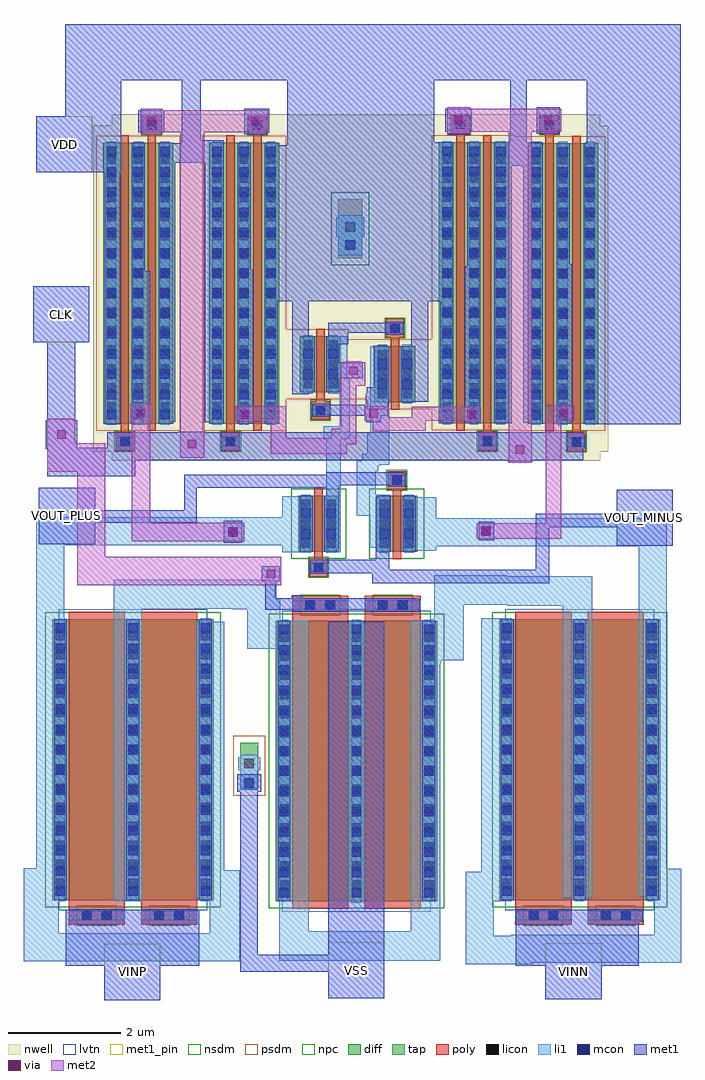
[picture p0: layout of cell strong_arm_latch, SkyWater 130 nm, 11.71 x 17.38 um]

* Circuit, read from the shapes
.subckt strong_arm_latch CLK VDD VINN VINP VOUT_MINUS VOUT_PLUS VSS
XM1 n1 VINP n2 VSS sky130_fd_pr__nfet_01v8_lvt w=5 l=1 m=2
XM2 VSS CLK n1 VSS sky130_fd_pr__nfet_01v8_lvt w=5 l=1 m=2
XM3 VOUT_PLUS VOUT_MINUS n2 VSS sky130_fd_pr__nfet_01v8 w=1 l=0.15
XM4 n3 VOUT_PLUS VOUT_MINUS VSS sky130_fd_pr__nfet_01v8 w=1 l=0.15
XM5 n1 VINN n3 VSS sky130_fd_pr__nfet_01v8_lvt w=5 l=1 m=2
XM6 n2 CLK VDD VDD sky130_fd_pr__pfet_01v8 w=5 l=0.15 m=2
XM7 VOUT_PLUS CLK VDD VDD sky130_fd_pr__pfet_01v8 w=5 l=0.15 m=2
XM8 VOUT_PLUS VOUT_MINUS VDD VDD sky130_fd_pr__pfet_01v8 w=1 l=0.15
XM9 VDD VOUT_PLUS VOUT_MINUS VDD sky130_fd_pr__pfet_01v8 w=1 l=0.15
XM10 VOUT_MINUS CLK VDD VDD sky130_fd_pr__pfet_01v8 w=5 l=0.15 m=2
XM11 n3 CLK VDD VDD sky130_fd_pr__pfet_01v8 w=5 l=0.15 m=2
.ends

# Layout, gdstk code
from math import pi, radians
import gdstk
lib = gdstk.Library(unit=1e-6, precision=1e-09)
def R(c, l, rs):  # rectangles x0, y0, x1, y1
    for r in rs: c.add(gdstk.rectangle(r[:2], r[2:], *l))
def A(c, l, x, y, w, h, nx, ny, dx, dy):  # array of equal rectangles
    R(c, l, [(x+i*dx, y+j*dy, x+i*dx+w, y+j*dy+h) for i in range(nx) for j in range(ny)])
nwell = (64, 20)
diff = (65, 20)
tap = (65, 44)
poly = (66, 20)
licon = (66, 44)
li1 = (67, 20)
mcon = (67, 44)
met1_pin = (68, 16)
met1 = (68, 20)
via = (68, 44)
met2 = (69, 20)
nsdm = (93, 44)
psdm = (94, 20)
npc = (95, 20)
lvtn = (125, 44)

sky130_fd_pr__pfet_01v8_ = lib.new_cell('sky130_fd_pr__pfet_01v8_7X63HF')
R(sky130_fd_pr__pfet_01v8_, nwell, [(-0.805,-3,0.325,-2.81), (-0.805,-2.81,0.805,2.81), (-0.325,2.81,0.805,3)])
R(sky130_fd_pr__pfet_01v8_, diff, [(-0.625,-2.5,0.625,2.5)])
R(sky130_fd_pr__pfet_01v8_, poly, [(-0.405,-2.985,-0.075,-2.655), (-0.315,-2.655,-0.165,2.63), (0.165,-2.63,0.315,2.655), (0.075,2.655,0.405,2.985)])
A(sky130_fd_pr__pfet_01v8_, licon, -0.565, -2.295, 0.17, 0.17, 3, 14, 0.48, 0.34)
R(sky130_fd_pr__pfet_01v8_, licon, [(-0.325,-2.905,-0.155,-2.735), (0.155,2.735,0.325,2.905)])
A(sky130_fd_pr__pfet_01v8_, li1, -0.565, -2.52, 0.17, 5.04, 3, 1, 0.48, 0)
R(sky130_fd_pr__pfet_01v8_, li1, [(-0.405,-2.905,-0.075,-2.735), (0.075,2.735,0.405,2.905)])
A(sky130_fd_pr__pfet_01v8_, mcon, -0.565, -2.425, 0.17, 0.17, 3, 14, 0.48, 0.36)
R(sky130_fd_pr__pfet_01v8_, mcon, [(-0.325,-2.905,-0.155,-2.735), (0.155,2.735,0.325,2.905)])
A(sky130_fd_pr__pfet_01v8_, met1, -0.595, -2.5, 0.23, 5, 3, 1, 0.48, 0)
R(sky130_fd_pr__pfet_01v8_, met1, [(-0.385,-2.935,-0.095,-2.705), (0.095,2.705,0.385,2.935)])
R(sky130_fd_pr__pfet_01v8_, psdm, [(-0.75,-2.625,0.75,2.625)])
R(sky130_fd_pr__pfet_01v8_, npc, [(-0.425,-3.005,-0.055,-2.635), (0.055,2.635,0.425,3.005)])

c_sky130_fd_pr__pfet_01v8_ = lib.new_cell('sky130_fd_pr__pfet_01v8_4THXWW')
R(c_sky130_fd_pr__pfet_01v8_, nwell, [(-0.805,-3,0.325,-2.81), (-0.805,-2.81,0.805,2.81), (-0.325,2.81,0.805,3)])
R(c_sky130_fd_pr__pfet_01v8_, diff, [(-0.625,-2.5,0.625,2.5)])
R(c_sky130_fd_pr__pfet_01v8_, poly, [(-0.405,-2.985,-0.075,-2.655), (-0.315,-2.655,-0.165,2.63), (0.165,-2.63,0.315,2.655), (0.075,2.655,0.405,2.985)])
A(c_sky130_fd_pr__pfet_01v8_, licon, -0.565, -2.295, 0.17, 0.17, 3, 14, 0.48, 0.34)
R(c_sky130_fd_pr__pfet_01v8_, licon, [(-0.325,-2.905,-0.155,-2.735), (0.155,2.735,0.325,2.905)])
A(c_sky130_fd_pr__pfet_01v8_, li1, -0.565, -2.52, 0.17, 5.04, 3, 1, 0.48, 0)
R(c_sky130_fd_pr__pfet_01v8_, li1, [(-0.405,-2.905,-0.075,-2.735), (0.075,2.735,0.405,2.905)])
A(c_sky130_fd_pr__pfet_01v8_, mcon, -0.565, -2.425, 0.17, 0.17, 3, 14, 0.48, 0.36)
R(c_sky130_fd_pr__pfet_01v8_, mcon, [(-0.325,-2.905,-0.155,-2.735), (0.155,2.735,0.325,2.905)])
A(c_sky130_fd_pr__pfet_01v8_, met1, -0.595, -2.5, 0.23, 5, 3, 1, 0.48, 0)
R(c_sky130_fd_pr__pfet_01v8_, met1, [(-0.385,-2.935,-0.095,-2.705), (0.095,2.705,0.385,2.935)])
R(c_sky130_fd_pr__pfet_01v8_, psdm, [(-0.75,-2.625,0.75,2.625)])
R(c_sky130_fd_pr__pfet_01v8_, npc, [(-0.425,-3.005,-0.055,-2.635), (0.055,2.635,0.425,3.005)])

c_sky130_fd_pr__pfet_01v8__ = lib.new_cell('sky130_fd_pr__pfet_01v8_D9KQBY')
R(c_sky130_fd_pr__pfet_01v8__, nwell, [(-0.545,-0.99,0.545,0.82)])
R(c_sky130_fd_pr__pfet_01v8__, diff, [(-0.365,-0.68,0.365,0.32)])
R(c_sky130_fd_pr__pfet_01v8__, poly, [(-0.075,-0.81,0.075,0.475), (-0.165,0.475,0.165,0.805)])
A(c_sky130_fd_pr__pfet_01v8__, licon, -0.305, -0.605, 0.17, 0.17, 1, 3, 0, 0.34)
A(c_sky130_fd_pr__pfet_01v8__, licon, 0.135, -0.605, 0.17, 0.17, 1, 3, 0, 0.34)
R(c_sky130_fd_pr__pfet_01v8__, licon, [(-0.085,0.555,0.085,0.725)])
R(c_sky130_fd_pr__pfet_01v8__, li1, [(-0.305,-0.7,-0.135,0.34), (0.135,-0.7,0.305,0.34), (-0.165,0.555,0.165,0.725)])
R(c_sky130_fd_pr__pfet_01v8__, mcon, [(-0.305,-0.445,-0.135,-0.275), (0.135,-0.445,0.305,-0.275), (-0.305,-0.085,-0.135,0.085), (0.135,-0.085,0.305,0.085), (-0.085,0.555,0.085,0.725)])
R(c_sky130_fd_pr__pfet_01v8__, met1, [(-0.335,-0.68,-0.105,0.32), (0.105,-0.68,0.335,0.32), (-0.145,0.525,0.145,0.755)])
R(c_sky130_fd_pr__pfet_01v8__, psdm, [(-0.49,-0.805,0.49,0.445)])
R(c_sky130_fd_pr__pfet_01v8__, npc, [(-0.185,0.455,0.185,0.825)])

c_sky130_fd_pr__pfet_01v8___ = lib.new_cell('sky130_fd_pr__pfet_01v8_LD44SC')
R(c_sky130_fd_pr__pfet_01v8___, nwell, [(-0.545,-0.82,0.545,0.99)])
R(c_sky130_fd_pr__pfet_01v8___, diff, [(-0.365,-0.32,0.365,0.68)])
R(c_sky130_fd_pr__pfet_01v8___, poly, [(-0.165,-0.805,0.165,-0.475), (-0.075,-0.475,0.075,0.81)])
A(c_sky130_fd_pr__pfet_01v8___, licon, -0.305, -0.245, 0.17, 0.17, 1, 3, 0, 0.34)
A(c_sky130_fd_pr__pfet_01v8___, licon, 0.135, -0.245, 0.17, 0.17, 1, 3, 0, 0.34)
R(c_sky130_fd_pr__pfet_01v8___, licon, [(-0.085,-0.725,0.085,-0.555)])
R(c_sky130_fd_pr__pfet_01v8___, li1, [(-0.165,-0.725,0.165,-0.555), (-0.305,-0.34,-0.135,0.7), (0.135,-0.34,0.305,0.7)])
R(c_sky130_fd_pr__pfet_01v8___, mcon, [(-0.085,-0.725,0.085,-0.555), (-0.305,-0.085,-0.135,0.085), (0.135,-0.085,0.305,0.085), (-0.305,0.275,-0.135,0.445), (0.135,0.275,0.305,0.445)])
R(c_sky130_fd_pr__pfet_01v8___, met1, [(-0.145,-0.755,0.145,-0.525), (-0.335,-0.32,-0.105,0.68), (0.105,-0.32,0.335,0.68)])
R(c_sky130_fd_pr__pfet_01v8___, psdm, [(-0.49,-0.445,0.49,0.805)])
R(c_sky130_fd_pr__pfet_01v8___, npc, [(-0.185,-0.825,0.185,-0.455)])

sky130_fd_pr__nfet_01v8_ = lib.new_cell('sky130_fd_pr__nfet_01v8_VEAVJH')
R(sky130_fd_pr__nfet_01v8_, diff, [(-0.365,-0.655,0.365,0.345)])
R(sky130_fd_pr__nfet_01v8_, poly, [(-0.075,-0.785,0.075,0.455), (-0.165,0.455,0.165,0.785)])
A(sky130_fd_pr__nfet_01v8_, licon, -0.305, -0.58, 0.17, 0.17, 1, 3, 0, 0.34)
A(sky130_fd_pr__nfet_01v8_, licon, 0.135, -0.58, 0.17, 0.17, 1, 3, 0, 0.34)
R(sky130_fd_pr__nfet_01v8_, licon, [(-0.085,0.535,0.085,0.705)])
R(sky130_fd_pr__nfet_01v8_, li1, [(-0.305,-0.675,-0.135,0.365), (0.135,-0.675,0.305,0.365), (-0.165,0.535,0.165,0.705)])
R(sky130_fd_pr__nfet_01v8_, mcon, [(-0.305,-0.42,-0.135,-0.25), (0.135,-0.42,0.305,-0.25), (-0.305,-0.06,-0.135,0.11), (0.135,-0.06,0.305,0.11), (-0.085,0.535,0.085,0.705)])
R(sky130_fd_pr__nfet_01v8_, met1, [(-0.335,-0.655,-0.105,0.345), (0.105,-0.655,0.335,0.345), (-0.145,0.505,0.145,0.735)])
R(sky130_fd_pr__nfet_01v8_, nsdm, [(-0.49,-0.78,0.49,0.47)])
R(sky130_fd_pr__nfet_01v8_, npc, [(-0.185,0.435,0.185,0.805)])

c_sky130_fd_pr__nfet_01v8_ = lib.new_cell('sky130_fd_pr__nfet_01v8_9XUEHQ')
R(c_sky130_fd_pr__nfet_01v8_, diff, [(-0.365,-0.345,0.365,0.655)])
R(c_sky130_fd_pr__nfet_01v8_, poly, [(-0.165,-0.785,0.165,-0.455), (-0.075,-0.455,0.075,0.785)])
A(c_sky130_fd_pr__nfet_01v8_, licon, -0.305, -0.27, 0.17, 0.17, 1, 3, 0, 0.34)
A(c_sky130_fd_pr__nfet_01v8_, licon, 0.135, -0.27, 0.17, 0.17, 1, 3, 0, 0.34)
R(c_sky130_fd_pr__nfet_01v8_, licon, [(-0.085,-0.705,0.085,-0.535)])
R(c_sky130_fd_pr__nfet_01v8_, li1, [(-0.165,-0.705,0.165,-0.535), (-0.305,-0.365,-0.135,0.675), (0.135,-0.365,0.305,0.675)])
R(c_sky130_fd_pr__nfet_01v8_, mcon, [(-0.085,-0.705,0.085,-0.535), (-0.305,-0.11,-0.135,0.06), (0.135,-0.11,0.305,0.06), (-0.305,0.25,-0.135,0.42), (0.135,0.25,0.305,0.42)])
R(c_sky130_fd_pr__nfet_01v8_, met1, [(-0.145,-0.735,0.145,-0.505), (-0.335,-0.345,-0.105,0.655), (0.105,-0.345,0.335,0.655)])
R(c_sky130_fd_pr__nfet_01v8_, nsdm, [(-0.49,-0.47,0.49,0.78)])
R(c_sky130_fd_pr__nfet_01v8_, npc, [(-0.185,-0.805,0.185,-0.435)])

c_sky130_fd_pr__nfet_01v8__ = lib.new_cell('sky130_fd_pr__nfet_01v8_lvt_XF63F2')
R(c_sky130_fd_pr__nfet_01v8__, diff, [(-1.435,-2.655,1.435,2.345)])
R(c_sky130_fd_pr__nfet_01v8__, poly, [(-1.145,-2.785,-0.145,2.785), (0.145,-2.785,1.145,2.785)])
A(c_sky130_fd_pr__nfet_01v8__, licon, -1.375, -2.45, 0.17, 0.17, 3, 14, 1.29, 0.34)
R(c_sky130_fd_pr__nfet_01v8__, licon, [(-0.9,2.535,-0.73,2.705), (-0.56,2.535,-0.39,2.705), (0.39,2.535,0.56,2.705), (0.73,2.535,0.9,2.705)])
A(c_sky130_fd_pr__nfet_01v8__, li1, -1.375, -2.675, 0.17, 5.04, 3, 1, 1.29, 0)
R(c_sky130_fd_pr__nfet_01v8__, li1, [(-1.145,2.535,-0.145,2.705), (0.145,2.535,1.145,2.705)])
A(c_sky130_fd_pr__nfet_01v8__, mcon, -1.375, -2.58, 0.17, 0.17, 3, 14, 1.29, 0.36)
R(c_sky130_fd_pr__nfet_01v8__, mcon, [(-0.91,2.535,-0.74,2.705), (-0.55,2.535,-0.38,2.705), (0.38,2.535,0.55,2.705), (0.74,2.535,0.91,2.705)])
A(c_sky130_fd_pr__nfet_01v8__, met1, -1.405, -2.655, 0.23, 5, 3, 1, 1.29, 0)
R(c_sky130_fd_pr__nfet_01v8__, met1, [(-1.125,2.505,-0.165,2.735), (0.165,2.505,1.125,2.735)])
R(c_sky130_fd_pr__nfet_01v8__, nsdm, [(-1.56,-2.78,1.56,2.47)])
R(c_sky130_fd_pr__nfet_01v8__, npc, [(-1,2.435,-0.29,2.805), (0.29,2.435,1,2.805)])
R(c_sky130_fd_pr__nfet_01v8__, lvtn, [(-1.325,-2.835,1.325,2.525)])

c_sky130_fd_pr__nfet_01v8___ = lib.new_cell('sky130_fd_pr__nfet_01v8_lvt_6A2LN6')
R(c_sky130_fd_pr__nfet_01v8___, diff, [(-1.435,-2.345,1.435,2.655)])
R(c_sky130_fd_pr__nfet_01v8___, poly, [(-1.145,-2.785,-0.145,2.785), (0.145,-2.785,1.145,2.785)])
A(c_sky130_fd_pr__nfet_01v8___, licon, -1.375, -2.14, 0.17, 0.17, 3, 14, 1.29, 0.34)
R(c_sky130_fd_pr__nfet_01v8___, licon, [(-0.9,-2.705,-0.73,-2.535), (-0.56,-2.705,-0.39,-2.535), (0.39,-2.705,0.56,-2.535), (0.73,-2.705,0.9,-2.535)])
A(c_sky130_fd_pr__nfet_01v8___, li1, -1.375, -2.365, 0.17, 5.04, 3, 1, 1.29, 0)
R(c_sky130_fd_pr__nfet_01v8___, li1, [(-1.145,-2.705,-0.145,-2.535), (0.145,-2.705,1.145,-2.535)])
A(c_sky130_fd_pr__nfet_01v8___, mcon, -1.375, -2.27, 0.17, 0.17, 3, 14, 1.29, 0.36)
R(c_sky130_fd_pr__nfet_01v8___, mcon, [(-0.91,-2.705,-0.74,-2.535), (-0.55,-2.705,-0.38,-2.535), (0.38,-2.705,0.55,-2.535), (0.74,-2.705,0.91,-2.535)])
A(c_sky130_fd_pr__nfet_01v8___, met1, -1.405, -2.345, 0.23, 5, 3, 1, 1.29, 0)
R(c_sky130_fd_pr__nfet_01v8___, met1, [(-1.125,-2.735,-0.165,-2.505), (0.165,-2.735,1.125,-2.505)])
R(c_sky130_fd_pr__nfet_01v8___, nsdm, [(-1.56,-2.47,1.56,2.78)])
R(c_sky130_fd_pr__nfet_01v8___, npc, [(-1,-2.805,-0.29,-2.435), (0.29,-2.805,1,-2.435)])
R(c_sky130_fd_pr__nfet_01v8___, lvtn, [(-1.325,-2.525,1.325,2.835)])

strong_arm_latch = lib.new_cell('strong_arm_latch')
R(strong_arm_latch, nwell, [(4.79,-5.82,13.49,0.35)])
R(strong_arm_latch, diff, [(12.91,-2.615,12.99,-2.455)])
R(strong_arm_latch, tap, [(7.08,-11.655,7.395,-10.835), (8.825,-2.21,9.245,-1.165)])
R(strong_arm_latch, licon, [(7.15,-11.295,7.32,-11.125), (8.95,-1.74,9.12,-1.57)])
R(strong_arm_latch, li1, [(11.09,-14.78,12.27,-14.76), (11.09,-14.76,14.93,-14.28), (3.22,-14.73,7.07,-14.23), (7.775,-14.72,10.64,-14.195), (11.09,-14.28,11.59,-13.66), (11.89,-14.28,14.93,-14.26), (14.45,-14.26,14.93,-13.66), (3.22,-14.23,3.845,-13.58), (6.535,-14.23,7.07,-13.61), (7.775,-14.195,8.3,-13.85), (10.115,-14.195,10.64,-9.42), (7.77,-13.85,8.3,-13.625), (4.82,-13.66,5.32,-8.46), (11.09,-13.66,11.91,-13.63), (14.43,-13.66,14.93,-13.58), (13.01,-13.64,13.21,-13.6), (11.09,-13.63,11.87,-13.14), (7.775,-13.625,8.3,-9.165), (6.29,-13.61,7.07,-13.11), (12.815,-13.6,13.34,-8.395), (3.22,-13.58,3.94,-13.07), (14.17,-13.58,14.93,-13.08), (11.37,-13.14,11.87,-8.62), (6.29,-13.11,6.79,-8.68), (14.17,-13.08,14.67,-7.34), (3.44,-13.07,3.94,-7.32), (7.08,-11.68,7.39,-11.325), (7.04,-11.325,7.43,-11.095), (7.08,-11.095,7.39,-11.055), (10.115,-9.42,10.65,-9.37), (10.11,-9.37,11.055,-8.845), (7.2,-9.165,8.3,-8.665), (10.115,-8.845,11.055,-8.66), (7.2,-8.665,7.79,-8.46), (10.35,-8.66,11.055,-8.65), (10.475,-8.65,11.055,-8.64), (10.53,-8.64,11.055,-8.385), (4.82,-8.46,6.26,-8.45), (6.93,-8.46,7.79,-8.45), (4.82,-8.45,7.79,-8.275), (11.83,-8.395,13.34,-8.385), (10.53,-8.385,13.34,-7.87), (4.82,-8.275,7.7,-7.935), (10.53,-7.87,11.83,-7.86), (7.82,-7.45,8.32,-7.32), (8.61,-7.45,8.87,-5.435), (9.49,-7.44,9.72,-7.43), (9.49,-7.43,9.75,-7.37), (10.07,-7.42,10.57,-7.34), (9.38,-7.37,9.75,-6.8), (10.07,-7.34,14.67,-6.84), (3.44,-7.32,8.32,-6.82), (10.07,-6.84,10.57,-6.47), (7.82,-6.82,8.32,-6.45), (9.155,-6.8,9.75,-6.42), (9.155,-6.42,9.5,-6.41), (9.155,-6.41,9.49,-6.34), (9.155,-6.34,9.485,-6), (9.155,-6,9.53,-5.9), (9.155,-5.9,9.59,-5.89), (9.155,-5.89,9.73,-5.82), (9.25,-5.82,9.73,-5.69), (9.34,-5.69,9.73,-5.64), (9.34,-5.64,9.725,-5.34), (8.56,-5.435,8.98,-5.43), (8.56,-5.43,9.03,-5.2), (9.395,-5.34,9.725,-3.775), (8.85,-5.2,9.03,-4.62), (8.72,-4.62,9.03,-4.37), (8.72,-4.37,8.98,-3.6), (8.825,-2.155,9.245,-1.825), (8.785,-1.825,9.285,-1.485), (8.825,-1.485,9.245,-1.445)])
R(strong_arm_latch, mcon, [(7.15,-11.64,7.32,-11.47), (6.865,-7.17,7.035,-7), (11.37,-7.155,11.54,-6.985), (8.95,-2.06,9.12,-1.89)])
R(strong_arm_latch, met1_pin, [(4.655,-15.42,5.655,-14.42), (12.51,-15.41,13.51,-14.41), (8.64,-15.39,9.64,-14.39), (13.78,-7.33,14.78,-6.33), (3.49,-7.3,4.49,-6.3), (3.39,-3.71,4.39,-2.71), (3.44,-0.68,4.44,0.32)])
R(strong_arm_latch, met1, [(4.655,-15.42,5.655,-14.81), (12.51,-15.41,13.51,-14.81), (8.64,-15.39,9.64,-14.92), (7.08,-14.92,9.64,-14.61), (3.965,-14.81,6.35,-13.81), (11.98,-14.81,14.17,-13.81), (7.08,-14.61,7.39,-11.71), (8.64,-14.61,9.64,-8.68), (7.02,-11.71,7.45,-11.4), (10.26,-8.5,10.27,-8.3), (7.52,-8.47,10.21,-8.27), (7.52,-8.27,7.72,-7.96), (7.99,-8.27,8.19,-8.21), (9.43,-8,12.58,-7.82), (7.46,-7.96,7.78,-7.7), (8.34,-7.82,12.58,-7.76), (8.34,-7.76,9.73,-7.58), (12.34,-7.76,12.58,-7), (9.49,-7.58,9.73,-6.46), (8.605,-7.375,8.835,-7.025), (13.78,-7.33,14.78,-7), (3.49,-7.3,4.49,-6.925), (6.785,-7.28,7.115,-6.89), (11.32,-7.235,11.595,-6.9), (8.605,-7.025,8.84,-6.795), (12.34,-7,14.78,-6.76), (3.49,-6.925,6.305,-6.695), (8.605,-6.795,8.835,-6.295), (13.78,-6.76,14.78,-6.33), (3.49,-6.695,4.49,-6.3), (6.075,-6.695,6.305,-6.295), (6.075,-6.295,8.835,-6.25), (6.075,-6.25,10,-6.065), (3.64,-6.09,5.21,-5.81), (8.605,-6.065,10,-6.02), (11.825,-5.825,12.295,-5.81), (3.64,-5.81,13.18,-5.6), (3.61,-5.6,13.18,-5.59), (3.61,-5.59,4.17,-5.1), (4.71,-5.59,13.18,-5.31), (5.975,-5.31,6.465,-5.305), (4.67,-5.17,4.94,-0.68), (13.37,-5.17,14.92,-5.12), (5.145,-5.165,5.475,-2.445), (7.03,-5.155,7.305,-2.44), (11.61,-5.15,11.91,-0.56), (11.065,-5.145,11.325,-4.825), (12.12,-5.14,12.42,-0.56), (9.32,-5.135,9.58,-5.02), (6.44,-5.13,6.78,-0.51), (12.71,-5.13,12.985,-2.32), (5.65,-5.12,5.92,-0.51), (13.25,-5.12,14.92,0.96), (3.64,-5.1,4.14,-3.71), (8.39,-5.02,9.71,-4.82), (11.07,-4.825,11.315,-2.35), (9.31,-4.82,9.71,-4.62), (10.12,-4.77,10.42,-2.98), (8,-4.63,8.3,-2.98), (9.33,-4.62,9.71,-4.505), (8.64,-4.54,8.82,-4.35), (9.455,-4.505,9.71,-3.78), (8.64,-4.35,9.26,-4.075), (8.64,-4.075,8.82,-3.74), (9.455,-3.78,9.7,-3.77), (8.64,-3.74,9,-3.54), (3.39,-3.71,4.39,-2.71), (8.64,-3.54,9.94,-3.36), (7.54,-2.98,10.82,-0.2), (5.18,-2.445,5.345,-2.43), (7.035,-2.44,7.305,-2.42), (7.035,-2.42,7.26,-2.41), (3.44,-0.68,4.96,0.32), (11.61,-0.56,12.42,-0.52), (11.61,-0.52,12.46,-0.22), (5.65,-0.51,6.78,-0.17), (11.63,-0.22,12.46,-0.15), (7.91,-0.2,10.68,-0.15), (5.66,-0.17,6.78,-0.16), (6.03,-0.16,6.78,-0.11), (7.91,-0.15,10.53,0.96), (11.88,-0.15,12.18,0.96), (6.03,-0.11,6.37,0.96), (10.76,-0.01,11.17,0.04), (7.145,0,7.535,0.02), (12.355,0.01,12.765,0.48), (7.145,0.02,7.59,0.45), (5.26,0.03,5.72,0.42), (10.73,0.04,11.2,0.45), (3.96,0.32,4.96,0.96), (3.96,0.96,14.92,1.96)])
R(strong_arm_latch, via, [(7.545,-7.905,7.695,-7.755), (6.875,-7.16,7.025,-7.01), (11.38,-7.145,11.53,-6.995), (11.985,-5.695,12.135,-5.545), (6.145,-5.595,6.295,-5.445), (3.815,-5.425,3.965,-5.275), (7.09,-5.065,7.24,-4.915), (11.12,-5.06,11.27,-4.91), (9.375,-5.05,9.525,-4.9), (5.235,-5.045,5.385,-4.895), (12.77,-5.04,12.92,-4.89), (9.015,-4.29,9.165,-4.14), (5.42,0.15,5.57,0.3), (7.265,0.15,7.415,0.3), (10.89,0.17,11.04,0.32), (12.485,0.17,12.635,0.32)])
R(strong_arm_latch, met2, [(4.17,-8.03,7.81,-7.53), (4.17,-7.53,4.67,-6.01), (5.145,-7.25,7.145,-6.92), (11.29,-7.205,12.795,-6.93), (12.52,-6.93,12.795,-5.1), (5.145,-6.92,5.475,-5.135), (3.64,-6.01,4.67,-5.51), (11.855,-5.855,12.265,0.04), (6.005,-5.765,6.435,0.03), (7.62,-5.695,8.97,-5.525), (7.62,-5.525,9.14,-5.42), (3.64,-5.51,4.14,-5.07), (7.62,-5.42,7.895,-5.125), (8.695,-5.42,9.14,-5.25), (9.465,-5.295,9.71,-5.285), (9.44,-5.285,10.375,-5.105), (8.865,-5.25,9.14,-4.485), (5.115,-5.135,5.505,-4.805), (7,-5.125,7.895,-4.85), (11.035,-5.115,11.355,-5.105), (9.29,-5.105,11.355,-5.04), (12.52,-5.1,13.015,-4.825), (9.29,-5.04,9.71,-4.855), (10.13,-5.04,11.355,-4.86), (11.035,-4.86,11.355,-4.855), (9.29,-4.855,9.61,-4.845), (8.865,-4.485,9.305,-4.065), (8.955,-4.065,9.23,-4.045), (5.3,0,5.69,0.03), (10.76,0.01,11.17,0.04), (5.3,0.03,7.565,0.42), (10.76,0.04,12.795,0.45), (5.3,0.42,5.69,0.45), (10.76,0.45,11.17,0.48)])
R(strong_arm_latch, nsdm, [(8.7,-2.335,9.37,-1.04)])
R(strong_arm_latch, psdm, [(6.955,-11.78,7.52,-10.71), (11.985,-5.275,12.075,-0.035), (10.32,-4.9,10.485,-3.65), (7.895,-4.725,8.015,-3.475), (8.995,-4.725,9.34,-3.65), (12.785,-2.74,13.115,-2.33)])
strong_arm_latch.add(gdstk.Reference(sky130_fd_pr__pfet_01v8_, (12.825,-2.66), rotation=pi, x_reflection=True))
strong_arm_latch.add(gdstk.Reference(sky130_fd_pr__pfet_01v8_, (11.235,-2.65), rotation=pi, x_reflection=True))
strong_arm_latch.add(gdstk.Reference(sky130_fd_pr__pfet_01v8_, (5.26,-2.655)))
strong_arm_latch.add(gdstk.Reference(c_sky130_fd_pr__pfet_01v8_, (7.145,-2.655)))
strong_arm_latch.add(gdstk.Reference(c_sky130_fd_pr__pfet_01v8__, (9.83,-4.095)))
strong_arm_latch.add(gdstk.Reference(c_sky130_fd_pr__pfet_01v8___, (8.505,-4.28)))
strong_arm_latch.add(gdstk.Reference(sky130_fd_pr__nfet_01v8_, (9.865,-6.785)))
strong_arm_latch.add(gdstk.Reference(c_sky130_fd_pr__nfet_01v8_, (8.47,-7.095)))
strong_arm_latch.add(gdstk.Reference(c_sky130_fd_pr__nfet_01v8__, (9.145,-11.01)))
strong_arm_latch.add(gdstk.Reference(c_sky130_fd_pr__nfet_01v8___, (13.12,-11.295)))
strong_arm_latch.add(gdstk.Reference(c_sky130_fd_pr__nfet_01v8___, (5.165,-11.295)))
strong_arm_latch.add(gdstk.Label('VDD', (3.94,-0.18), layer=68, texttype=5))
strong_arm_latch.add(gdstk.Label('CLK', (3.89,-3.21), layer=68, texttype=5))
strong_arm_latch.add(gdstk.Label('VOUT_PLUS', (3.99,-6.8), layer=68, texttype=5))
strong_arm_latch.add(gdstk.Label('VOUT_MINUS', (14.28,-6.83), layer=68, texttype=5))
strong_arm_latch.add(gdstk.Label('VSS', (9.14,-14.89), layer=68, texttype=5))
strong_arm_latch.add(gdstk.Label('VINP', (5.155,-14.92), layer=68, texttype=5))
strong_arm_latch.add(gdstk.Label('VINN', (13.01,-14.91), layer=68, texttype=5))

lib.write_gds('strong_arm_latch.gds')
